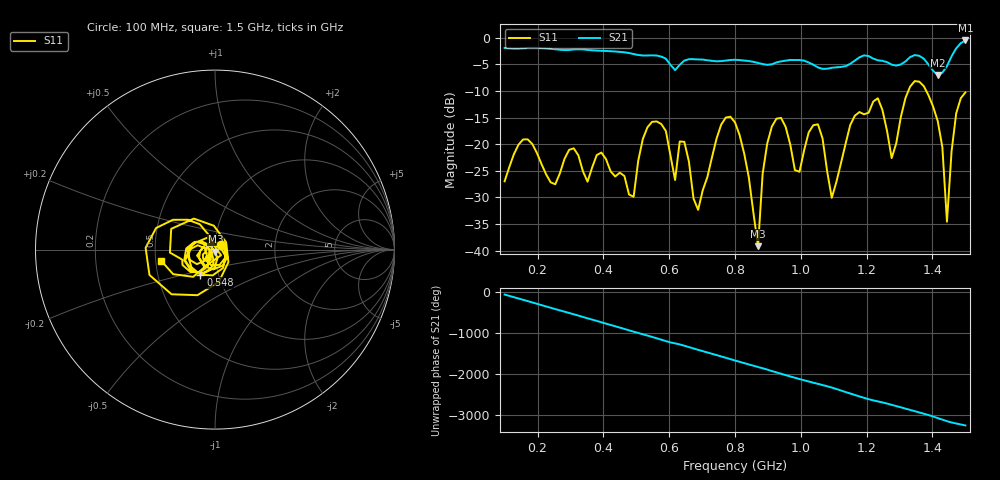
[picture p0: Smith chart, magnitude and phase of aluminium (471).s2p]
! NanoVNA-App
! Date: 2025-09-25 14:58:57
! Start: 100MHz Stop: 1,5GHz Points: 101
! S-Parameter data: F S11 S21 S12 S22
# Hz S RI R 50
!  Frequency  S11_Real  S11_Imag  S21_Real  S21_Imag  S12_Real  S12_Imag  S22_Real  S22_Imag
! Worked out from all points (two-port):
!   101 points, 100 MHz to 1.5 GHz, reference 50 ohm
!   highest |S21| = -0.52 dB at 1.5 GHz (marker M1); lowest = -7.0 dB at 1.416 GHz (marker M2)
!   |S21| within 3 dB of the highest: start of sweep to 573.9 MHz; 1.458 GHz to end of sweep (the widest 2 of 4)
!   lowest |S11| = -39.1 dB at 870 MHz (marker M3), VSWR 1.02, Z = 50.2 - j1.09 ohm
!   |S11| at or under -10 dB: start of sweep to 1.327 GHz; 1.381 GHz to end of sweep
!   S12 and S22 are empty: the file has one direction only
!   S11 on the Smith chart (normalised r, x): 100 MHz: 1.07, +0.06; 548 MHz: 0.82, -0.24; 1.5 GHz: 0.53, -0.07
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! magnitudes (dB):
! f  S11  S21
! 100 MHz  -27.0  -1.9
! 156 MHz  -19.1  -2.0
! 338 MHz  -25.1  -2.2
! 492 MHz  -29.9  -3.1
! 548 MHz  -15.8  -3.3
! 576 MHz  -16.2  -3.5
! 618 MHz  -26.7  -6.1
! 646 MHz  -19.5  -4.3
! 688 MHz  -32.3  -4.1
! 800 MHz  -15.9  -4.1
! 870 MHz  -39.1  -4.7
! 912 MHz  -16.7  -5.0
! 996 MHz  -25.2  -4.2
! 1.038 GHz  -16.4  -5.1
! 1.094 GHz  -30.1  -5.6
! 1.234 GHz  -11.4  -4.2
! 1.276 GHz  -22.6  -5.1
! 1.346 GHz  -8.1  -3.3
! 1.416 GHz  -15.7  -7.0
! 1.444 GHz  -34.5  -5.3
! 1.472 GHz  -14.2  -2.0
! 1.5 GHz  -10.3  -0.5
